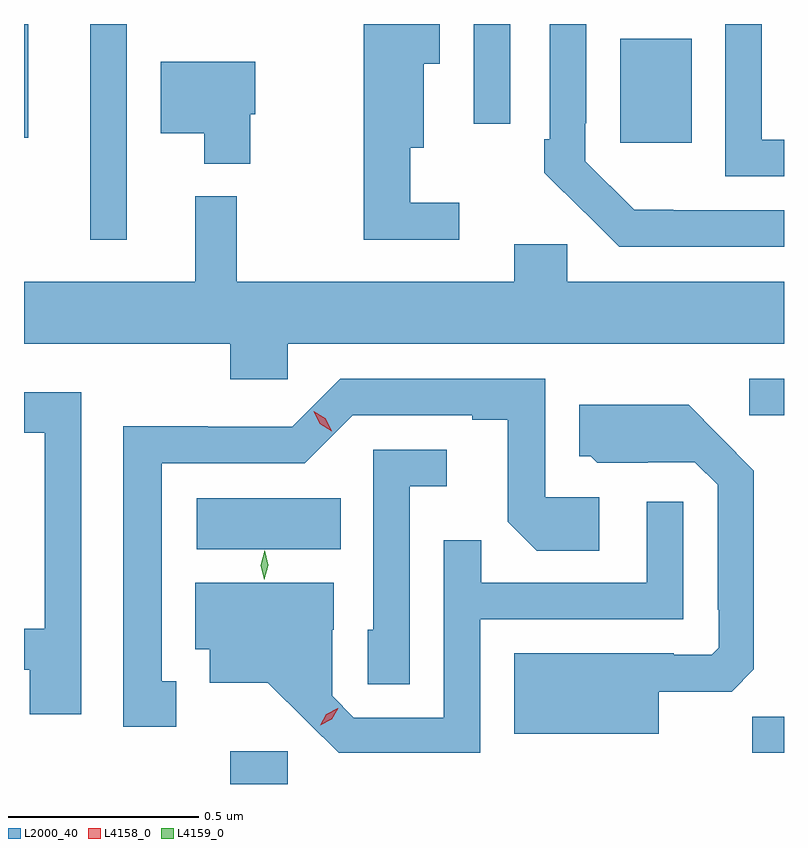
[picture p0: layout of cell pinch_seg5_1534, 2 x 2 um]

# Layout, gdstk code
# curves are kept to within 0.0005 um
import gdstk
lib = gdstk.Library(unit=1e-6, precision=1e-09)
def R(c, l, rs):  # rectangles x0, y0, x1, y1
    for r in rs: c.add(gdstk.rectangle(r[:2], r[2:], *l))
def P(c, l, *ps):  # polygons
    for p in ps: c.add(gdstk.Polygon(p, *l))
L2000_40 = (2000, 40)
L4158_0 = (4158, 0)
L4159_0 = (4159, 0)

pinch_seg5_1534 = lib.new_cell('pinch_seg5_1534')
R(pinch_seg5_1534, L2000_40, [(124.589,892.898,124.74,892.984), (125.962,892.98,126.046,893.075), (124.5,893.516,124.88,893.65), (125.955,893.868,126.046,893.964), (124.22,894.33,124.317,894.898), (125.615,894.585,125.803,894.859), (124.046,894.599,124.057,894.898), (125.229,894.636,125.325,894.898)])
P(pinch_seg5_1534, L2000_40, [(126.046,894.594),(125.988,894.594),(125.988,894.898),(125.892,894.898),(125.892,894.498),(126.046,894.498)],
  [(125.191,894.427),(125.062,894.427),(125.062,894.572),(125.098,894.572),(125.098,894.794),(125.14,894.794),(125.14,894.898),(124.94,894.898),(124.94,894.33),(125.191,894.33)],
  [(126.046,894.408),(125.755,894.408),(125.755,894.409),(125.652,894.409),(125.523,894.537),(125.523,894.637),(125.526,894.637),(125.526,894.898),(125.43,894.898),(125.43,894.595),(125.415,894.595),(125.415,894.507),(125.52,894.402),(125.521,894.403),(125.612,894.312),(126.046,894.312)],
  [(124.642,894.66),(124.654,894.66),(124.654,894.799),(124.406,894.799),(124.406,894.611),(124.52,894.611),(124.52,894.53),(124.642,894.53)],
  [(124.74,894.056),(126.046,894.056),(126.046,894.22),(125.475,894.22),(125.475,894.318),(125.336,894.318),(125.336,894.22),(124.606,894.22),(124.606,894.445),(124.496,894.445),(124.496,894.22),(124.046,894.22),(124.046,894.056),(124.589,894.056),(124.589,893.963),(124.74,893.963)],
  [(124.447,893.169),(124.408,893.169),(124.408,893.742),(124.785,893.742),(124.911,893.868),(125.225,893.868),(125.225,893.856),(125.319,893.856),(125.319,893.588),(125.395,893.512),(125.56,893.512),(125.56,893.652),(125.418,893.652),(125.418,893.964),(124.878,893.964),(124.752,893.838),(124.53,893.838),(124.53,893.84),(124.307,893.84),(124.307,893.049),(124.447,893.049)],
  [(124.197,893.929),(124.046,893.929),(124.046,893.823),(124.101,893.823),(124.101,893.307),(124.046,893.307),(124.046,893.199),(124.061,893.199),(124.061,893.082),(124.197,893.082)],
  [(125.716,893.141),(125.908,893.141),(125.967,893.2),(125.967,893.722),(125.795,893.896),(125.507,893.896),(125.507,893.76),(125.538,893.76),(125.554,893.744),(125.688,893.744),(125.688,893.745),(125.811,893.745),(125.871,893.685),(125.871,893.356),(125.874,893.356),(125.874,893.256),(125.856,893.238),(125.756,893.238),(125.756,893.242),(125.336,893.242),(125.336,893.03),(125.716,893.03)],
  [(125.061,893.681),(125.158,893.681),(125.158,893.778),(124.965,893.778),(124.965,893.304),(124.95,893.304),(124.95,893.161),(125.061,893.161)],
  [(125.247,893.331),(125.781,893.331),(125.781,893.641),(125.685,893.641),(125.685,893.427),(125.249,893.427),(125.249,893.54),(125.151,893.54),(125.151,893.073),(124.914,893.073),(124.857,893.13),(124.857,893.304),(124.861,893.304),(124.861,893.428),(124.496,893.428),(124.496,893.252),(124.535,893.252),(124.535,893.165),(124.687,893.165),(124.874,892.98),(125.247,892.98)])
P(pinch_seg5_1534, L4158_0, [(124.825,893.053),(124.825,893.053),(124.842,893.082),(124.872,893.098),(124.873,893.098),(124.873,893.098),(124.856,893.068),(124.825,893.053)],
  [(124.856,893.826),(124.824,893.846),(124.808,893.879),(124.808,893.879),(124.808,893.879),(124.839,893.86),(124.856,893.827),(124.856,893.826)])
P(pinch_seg5_1534, L4159_0, [(124.678,893.435),(124.678,893.435),(124.669,893.474),(124.679,893.513),(124.679,893.513),(124.679,893.513),(124.689,893.474),(124.678,893.435)])

lib.write_gds('pinch_seg5_1534.gds')
